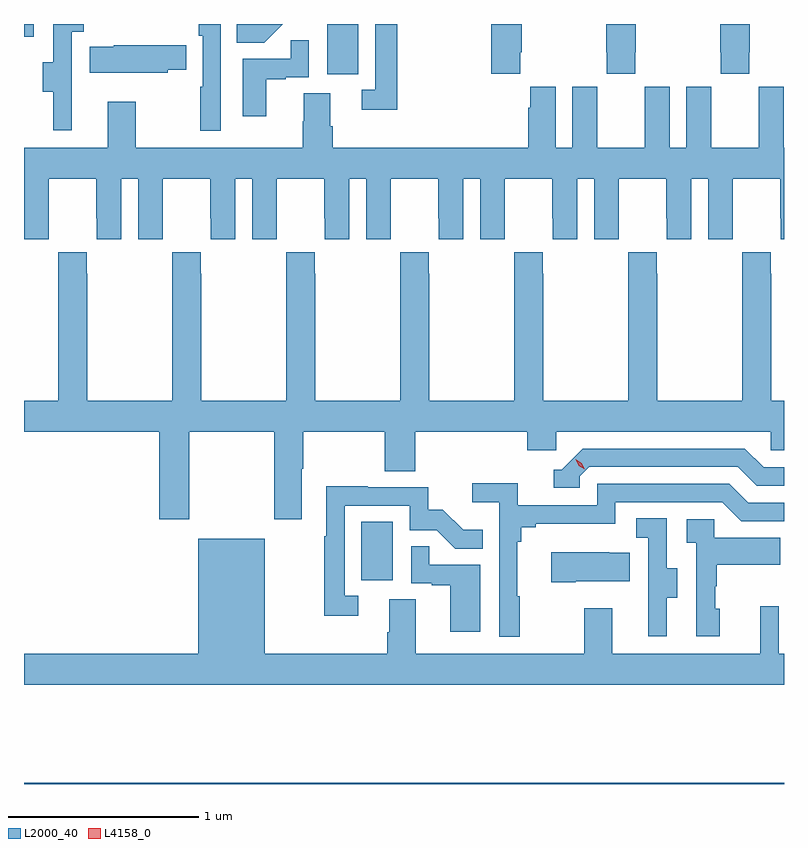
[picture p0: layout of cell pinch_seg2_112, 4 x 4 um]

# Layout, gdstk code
import gdstk
lib = gdstk.Library(unit=1e-6, precision=1e-09)
def R(c, l, rs):  # rectangles x0, y0, x1, y1
    for r in rs: c.add(gdstk.rectangle(r[:2], r[2:], *l))
def P(c, l, *ps):  # polygons
    for p in ps: c.add(gdstk.Polygon(p, *l))
L2000_40 = (2000, 40)
L4158_0 = (4158, 0)

pinch_seg2_112 = lib.new_cell('pinch_seg2_112')
R(pinch_seg2_112, L2000_40, [(1029.344,637.79,1033.344,637.796), (1031.12,638.862,1031.284,639.169), (1030.94,641.526,1031.104,641.79), (1029.344,641.723,1029.394,641.79)])
P(pinch_seg2_112, L2000_40, [(1029.596,641.445),(1029.594,641.445),(1029.594,641.749),(1029.658,641.749),(1029.658,641.79),(1029.498,641.79),(1029.498,641.589),(1029.443,641.589),(1029.443,641.434),(1029.497,641.434),(1029.497,641.232),(1029.596,641.232)],
  [(1030.38,641.79),(1030.264,641.79),(1030.264,641.729),(1030.284,641.729),(1030.284,641.459),(1030.272,641.459),(1030.272,641.229),(1030.38,641.229)],
  [(1030.706,641.79),(1030.465,641.79),(1030.465,641.692),(1030.608,641.692)],
  [(1031.309,641.79),(1031.193,641.79),(1031.193,641.445),(1031.121,641.445),(1031.121,641.34),(1031.309,641.34)],
  [(1031.957,641.641),(1031.964,641.641),(1031.964,641.79),(1031.804,641.79),(1031.804,641.529),(1031.957,641.529)],
  [(1032.561,641.641),(1032.564,641.641),(1032.564,641.79),(1032.409,641.79),(1032.409,641.641),(1032.411,641.641),(1032.411,641.529),(1032.561,641.529)],
  [(1033.161,641.641),(1033.164,641.641),(1033.164,641.79),(1033.009,641.79),(1033.009,641.641),(1033.011,641.641),(1033.011,641.529),(1033.161,641.529)],
  [(1030.618,641.499),(1030.721,641.499),(1030.721,641.511),(1030.842,641.511),(1030.842,641.705),(1030.747,641.705),(1030.747,641.607),(1030.496,641.607),(1030.496,641.304),(1030.618,641.304)],
  [(1030.101,641.548),(1030.199,641.548),(1030.199,641.677),(1029.816,641.677),(1029.816,641.671),(1029.691,641.671),(1029.691,641.534),(1030.101,641.534)],
  [(1030.925,640.768),(1030.926,640.768),(1030.926,640.656),(1031.056,640.656),(1031.056,640.976),(1031.144,640.976),(1031.144,640.656),(1031.274,640.656),(1031.274,640.768),(1031.275,640.768),(1031.275,640.976),(1031.525,640.976),(1031.525,640.768),(1031.526,640.768),(1031.526,640.656),(1031.656,640.656),(1031.656,640.976),(1031.744,640.976),(1031.744,640.656),(1031.874,640.656),(1031.874,640.768),(1031.875,640.768),(1031.875,640.976),(1032.125,640.976),(1032.125,640.768),(1032.126,640.768),(1032.126,640.656),(1032.256,640.656),(1032.256,640.976),(1032.344,640.976),(1032.344,640.656),(1032.474,640.656),(1032.474,640.768),(1032.475,640.768),(1032.475,640.976),(1032.725,640.976),(1032.725,640.768),(1032.726,640.768),(1032.726,640.656),(1032.856,640.656),(1032.856,640.976),(1032.944,640.976),(1032.944,640.656),(1033.074,640.656),(1033.074,640.768),(1033.075,640.768),(1033.075,640.976),(1033.325,640.976),(1033.325,640.768),(1033.326,640.768),(1033.326,640.656),(1033.344,640.656),(1033.344,641.14),(1033.342,641.14),(1033.342,641.461),(1033.212,641.461),(1033.212,641.348),(1033.211,641.348),(1033.211,641.14),(1032.961,641.14),(1032.961,641.348),(1032.96,641.348),(1032.96,641.461),(1032.83,641.461),(1032.83,641.14),(1032.742,641.14),(1032.742,641.461),(1032.612,641.461),(1032.612,641.348),(1032.611,641.348),(1032.611,641.14),(1032.361,641.14),(1032.361,641.348),(1032.36,641.348),(1032.36,641.461),(1032.23,641.461),(1032.23,641.14),(1032.142,641.14),(1032.142,641.461),(1032.008,641.461),(1032.008,641.348),(1031.999,641.348),(1031.999,641.14),(1030.97,641.14),(1030.97,641.252),(1030.957,641.252),(1030.957,641.426),(1030.817,641.426),(1030.817,641.277),(1030.81,641.277),(1030.81,641.14),(1029.933,641.14),(1029.933,641.38),(1029.785,641.38),(1029.785,641.14),(1029.344,641.14),(1029.344,640.656),(1029.474,640.656),(1029.474,640.768),(1029.475,640.768),(1029.475,640.976),(1029.725,640.976),(1029.725,640.768),(1029.726,640.768),(1029.726,640.656),(1029.856,640.656),(1029.856,640.976),(1029.944,640.976),(1029.944,640.656),(1030.074,640.656),(1030.074,640.768),(1030.075,640.768),(1030.075,640.976),(1030.325,640.976),(1030.325,640.768),(1030.326,640.768),(1030.326,640.656),(1030.456,640.656),(1030.456,640.976),(1030.544,640.976),(1030.544,640.656),(1030.674,640.656),(1030.674,640.768),(1030.675,640.768),(1030.675,640.976),(1030.925,640.976)],
  [(1030.055,639.183),(1030.215,639.183),(1030.215,639.644),(1030.66,639.644),(1030.66,639.183),(1030.807,639.183),(1030.807,639.448),(1030.815,639.448),(1030.815,639.644),(1031.242,639.644),(1031.242,639.436),(1031.402,639.436),(1031.402,639.644),(1031.993,639.644),(1031.993,639.546),(1032.144,639.546),(1032.144,639.644),(1033.275,639.644),(1033.275,639.546),(1033.344,639.546),(1033.344,639.808),(1033.278,639.808),(1033.278,640.475),(1033.275,640.475),(1033.275,640.588),(1033.125,640.588),(1033.125,640.475),(1033.123,640.475),(1033.123,639.808),(1032.678,639.808),(1032.678,640.475),(1032.675,640.475),(1032.675,640.588),(1032.525,640.588),(1032.525,640.475),(1032.523,640.475),(1032.523,639.808),(1032.078,639.808),(1032.078,640.475),(1032.075,640.475),(1032.075,640.588),(1031.925,640.588),(1031.925,640.475),(1031.923,640.475),(1031.923,639.808),(1031.478,639.808),(1031.478,640.475),(1031.475,640.475),(1031.475,640.588),(1031.325,640.588),(1031.325,640.475),(1031.323,640.475),(1031.323,639.808),(1030.878,639.808),(1030.878,640.475),(1030.875,640.475),(1030.875,640.588),(1030.725,640.588),(1030.725,640.475),(1030.723,640.475),(1030.723,639.808),(1030.278,639.808),(1030.278,640.475),(1030.275,640.475),(1030.275,640.588),(1030.125,640.588),(1030.125,640.475),(1030.123,640.475),(1030.123,639.808),(1029.678,639.808),(1029.678,640.475),(1029.675,640.475),(1029.675,640.588),(1029.525,640.588),(1029.525,640.475),(1029.523,640.475),(1029.523,639.808),(1029.344,639.808),(1029.344,639.644),(1030.055,639.644)],
  [(1032.27,639.411),(1032.318,639.459),(1033.101,639.459),(1033.2,639.36),(1033.344,639.36),(1033.344,639.456),(1033.237,639.456),(1033.138,639.555),(1032.285,639.555),(1032.174,639.444),(1032.131,639.444),(1032.131,639.348),(1032.27,639.348)],
  [(1031.953,638.777),(1031.941,638.777),(1031.941,639.065),(1031.96,639.065),(1031.96,639.142),(1032.037,639.142),(1032.037,639.161),(1032.456,639.161),(1032.456,639.273),(1033.02,639.273),(1033.119,639.174),(1033.344,639.174),(1033.344,639.27),(1033.156,639.27),(1033.057,639.369),(1032.36,639.369),(1032.36,639.258),(1031.942,639.258),(1031.942,639.374),(1031.703,639.374),(1031.703,639.272),(1031.844,639.272),(1031.844,638.565),(1031.953,638.565)],
  [(1031.103,638.781),(1031.031,638.781),(1031.031,639.255),(1031.373,639.255),(1031.373,639.126),(1031.517,639.126),(1031.615,639.028),(1031.759,639.028),(1031.759,639.127),(1031.655,639.127),(1031.548,639.234),(1031.472,639.234),(1031.472,639.351),(1031.153,639.351),(1031.153,639.356),(1030.935,639.356),(1030.935,639.095),(1030.923,639.095),(1030.923,638.676),(1031.103,638.676)],
  [(1032.727,638.77),(1032.781,638.77),(1032.781,638.925),(1032.726,638.925),(1032.726,639.188),(1032.567,639.188),(1032.567,639.085),(1032.63,639.085),(1032.63,638.781),(1032.629,638.781),(1032.629,638.568),(1032.727,638.568)],
  [(1033.006,638.712),(1032.981,638.712),(1032.981,638.831),(1032.991,638.831),(1032.991,638.945),(1033.325,638.945),(1033.325,639.085),(1032.978,639.085),(1032.978,639.183),(1032.831,639.183),(1032.831,639.059),(1032.882,639.059),(1032.882,638.568),(1033.006,638.568)],
  [(1033.344,638.476),(1033.317,638.476),(1033.317,638.725),(1033.22,638.725),(1033.22,638.476),(1032.439,638.476),(1032.439,638.716),(1032.292,638.716),(1032.292,638.476),(1031.407,638.476),(1031.407,638.762),(1031.267,638.762),(1031.267,638.588),(1031.255,638.588),(1031.255,638.476),(1030.612,638.476),(1030.612,639.082),(1030.262,639.082),(1030.262,638.476),(1029.344,638.476),(1029.344,638.312),(1033.344,638.312)],
  [(1031.746,638.943),(1031.477,638.943),(1031.477,639.041),(1031.382,639.041),(1031.382,638.847),(1031.489,638.847),(1031.489,638.835),(1031.588,638.835),(1031.588,638.592),(1031.746,638.592)],
  [(1032.247,638.858),(1032.533,638.858),(1032.533,639.007),(1032.425,639.007),(1032.425,639.01),(1032.119,639.01),(1032.119,638.851),(1032.247,638.851)])
P(pinch_seg2_112, L4158_0, [(1032.295,639.446),(1032.265,639.466),(1032.249,639.499),(1032.249,639.499),(1032.249,639.499),(1032.28,639.479),(1032.295,639.446),(1032.295,639.446)])

lib.write_gds('pinch_seg2_112.gds')
